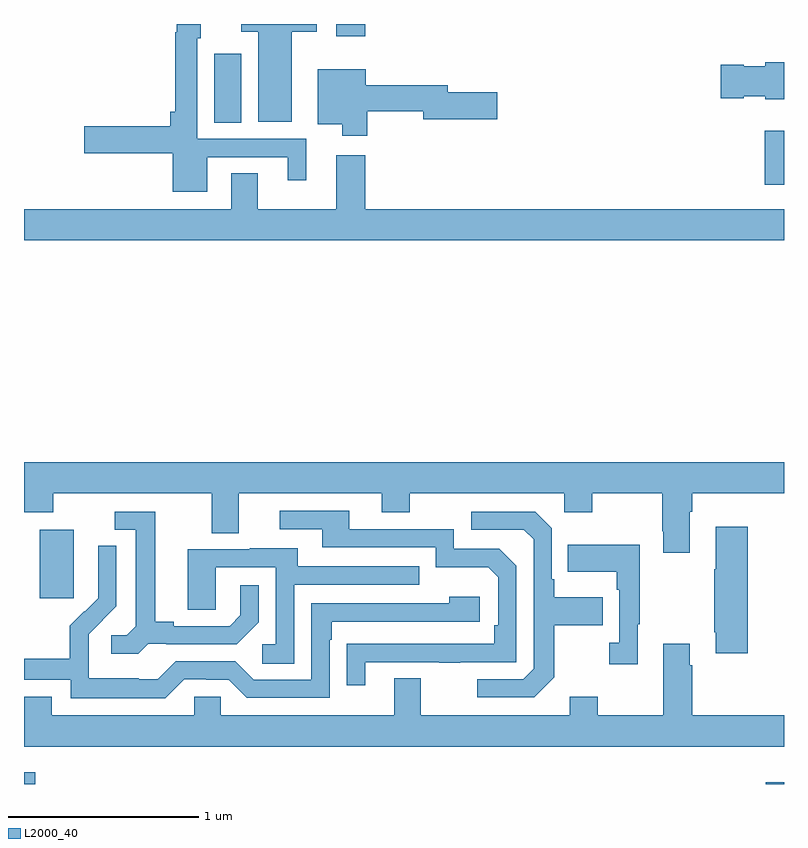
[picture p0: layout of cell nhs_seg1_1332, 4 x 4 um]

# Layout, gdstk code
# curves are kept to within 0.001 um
import gdstk
lib = gdstk.Library(unit=1e-6, precision=1e-09)
def R(c, l, rs):  # rectangles x0, y0, x1, y1
    for r in rs: c.add(gdstk.rectangle(r[:2], r[2:], *l))
def P(c, l, *ps):  # polygons
    for p in ps: c.add(gdstk.Polygon(p, *l))
L2000_40 = (2000, 40)

nhs_seg1_1332 = lib.new_cell('nhs_seg1_1332')
R(nhs_seg1_1332, L2000_40, [(183,554.199,183.058,554.26), (186.903,554.199,187,554.208), (183.083,555.177,183.262,555.538), (186.899,557.352,187,557.638), (184.001,557.68,184.144,558.043), (184.643,558.135,184.796,558.199)])
P(nhs_seg1_1332, L2000_40, [(184.408,558.158),(184.54,558.158),(184.54,558.199),(184.143,558.199),(184.143,558.158),(184.232,558.158),(184.232,557.684),(184.408,557.684)],
  [(183.964,557.499),(184.388,557.499),(184.388,557.376),(184.486,557.376),(184.486,557.595),(183.912,557.595),(183.912,558.123),(183.931,558.123),(183.931,558.199),(183.804,558.199),(183.804,558.155),(183.796,558.155),(183.796,557.737),(183.77,557.737),(183.77,557.66),(183.318,557.66),(183.318,557.518),(183.782,557.518),(183.782,557.315),(183.964,557.315)],
  [(187,557.998),(186.9,557.998),(186.9,557.977),(186.789,557.977),(186.789,557.985),(186.666,557.985),(186.666,557.807),(186.789,557.807),(186.789,557.819),(186.9,557.819),(186.9,557.804),(187,557.804)],
  [(184.806,557.74),(185.102,557.74),(185.102,557.698),(185.491,557.698),(185.491,557.84),(185.23,557.84),(185.23,557.876),(184.798,557.876),(184.798,557.962),(184.547,557.962),(184.547,557.672),(184.676,557.672),(184.676,557.61),(184.806,557.61)],
  [(187,557.224),(184.796,557.224),(184.796,557.509),(184.643,557.509),(184.643,557.224),(184.231,557.224),(184.231,557.414),(184.091,557.414),(184.091,557.224),(183,557.224),(183,557.06),(187,557.06)],
  [(186.505,555.632),(186.518,555.632),(186.518,555.728),(187,555.728),(187,555.892),(183,555.892),(183,555.629),(183.153,555.629),(183.153,555.728),(183.989,555.728),(183.989,555.52),(184.129,555.52),(184.129,555.728),(184.883,555.728),(184.883,555.629),(185.031,555.629),(185.031,555.728),(185.844,555.728),(185.844,555.629),(185.991,555.629),(185.991,555.728),(186.358,555.728),(186.358,555.529),(186.365,555.529),(186.365,555.417),(186.505,555.417)],
  [(184.795,554.841),(185.185,554.841),(185.185,554.836),(185.297,554.836),(185.297,554.841),(185.592,554.841),(185.592,555.348),(185.502,555.438),(185.262,555.438),(185.262,555.54),(184.711,555.54),(184.711,555.636),(184.347,555.636),(184.347,555.54),(184.571,555.54),(184.571,555.444),(185.166,555.444),(185.166,555.341),(185.443,555.341),(185.496,555.288),(185.496,555.034),(185.476,555.034),(185.476,554.937),(184.699,554.936),(184.699,554.718),(184.795,554.718)],
  [(185.791,554.761),(185.791,555.034),(186.047,555.034),(186.047,555.181),(185.791,555.181),(185.791,555.277),(185.778,555.277),(185.778,555.546),(185.691,555.633),(185.355,555.633),(185.355,555.537),(185.631,555.537),(185.682,555.486),(185.682,554.805),(185.628,554.751),(185.385,554.751),(185.385,554.655),(185.685,554.655)],
  [(183.654,554.937),(183.748,554.937),(183.748,554.934),(184.12,554.934),(184.236,555.05),(184.236,555.244),(184.139,555.244),(184.139,555.087),(184.082,555.03),(183.787,555.03),(183.787,555.053),(183.691,555.053),(183.691,555.633),(183.477,555.633),(183.477,555.537),(183.587,555.537),(183.587,555.029),(183.54,554.982),(183.459,554.982),(183.459,554.885),(183.602,554.885)],
  [(186.809,555.553),(186.641,555.553),(186.641,555.329),(186.634,555.329),(186.634,554.998),(186.641,554.998),(186.641,554.886),(186.809,554.886)],
  [(186.229,555.041),(186.241,555.041),(186.241,555.457),(185.863,555.457),(185.863,555.317),(186.12,555.317),(186.12,555.221),(186.132,555.221),(186.132,554.942),(186.081,554.942),(186.081,554.829),(186.229,554.829)],
  [(183.843,554.751),(183.959,554.751),(183.959,554.748),(184.077,554.748),(184.173,554.652),(184.608,554.652),(184.608,554.957),(184.621,554.957),(184.621,555.054),(185.398,555.054),(185.398,555.184),(185.237,555.184),(185.237,555.15),(184.512,555.15),(184.512,554.748),(184.209,554.748),(184.113,554.844),(183.798,554.844),(183.705,554.751),(183.605,554.751),(183.605,554.755),(183.342,554.755),(183.342,554.889),(183.34,554.889),(183.34,554.986),(183.486,555.134),(183.486,555.452),(183.39,555.452),(183.39,555.298),(183.392,555.298),(183.392,555.176),(183.321,555.105),(183.318,555.108),(183.241,555.031),(183.241,554.857),(183,554.857),(183,554.748),(183.246,554.748),(183.246,554.651),(183.743,554.651)],
  [(184.422,555.249),(185.081,555.249),(185.081,555.345),(184.441,555.345),(184.441,555.439),(184.187,555.439),(184.187,555.435),(183.863,555.435),(183.863,555.115),(184.008,555.115),(184.008,555.339),(184.326,555.339),(184.326,554.934),(184.254,554.934),(184.254,554.833),(184.422,554.833)],
  [(187,554.56),(186.518,554.56),(186.518,554.825),(186.505,554.825),(186.505,554.938),(186.365,554.938),(186.365,554.56),(186.021,554.56),(186.021,554.659),(185.873,554.659),(185.873,554.56),(185.089,554.56),(185.089,554.755),(184.949,554.755),(184.949,554.56),(184.035,554.56),(184.035,554.658),(183.897,554.658),(183.897,554.56),(183.145,554.56),(183.145,554.659),(183,554.659),(183,554.396),(187,554.396)])

lib.write_gds('nhs_seg1_1332.gds')
